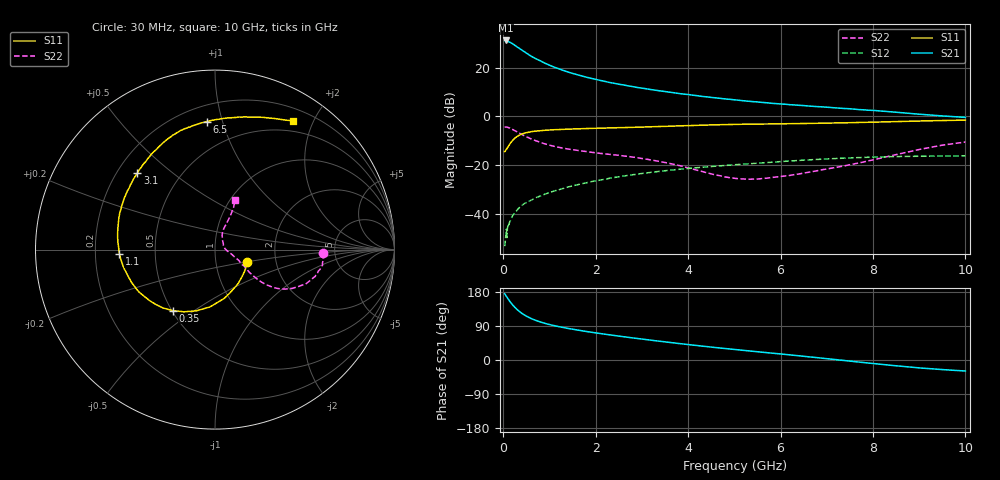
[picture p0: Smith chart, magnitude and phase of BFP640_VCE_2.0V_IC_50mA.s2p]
! Infineon Technologies  Discrete & RF Semiconductors
! BFP640
! VCE =  2.0 V,  IC =  50 mA
! Common Emitter S-Parameters:  Apr 2013
# GHz  S  MA  R  50
!  f  S11  S21  S12  S22
! GHz  MAG  ANG  MAG  ANG  MAG  ANG  MAG  ANG
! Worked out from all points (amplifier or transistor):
!   99 points, 30 MHz to 10 GHz, reference 50 ohm
!   highest |S21| = 31.1 dB at 50 MHz (marker M1)
!   |S21| within 3 dB of that: start of sweep to 329.9 MHz
!   unconditionally stable (mu >= 1): start of sweep to 315.7 MHz; 551.3 MHz to end of sweep
!   at 350 MHz: K = 0.97, MSG = 32.6 dB, |S12| = -37.3 dB
!   at 3.5 GHz: K = 1.27, MAG = 13.1 dB, |S12| = -22.3 dB
!   at 10 GHz: K = 1.22, MAG = 5.0 dB, |S12| = -16.1 dB
!   S11 on the Smith chart (normalised r, x): 30 MHz: 1.42, -0.20; 350 MHz: 0.51, -0.42; 1.1 GHz: 0.30, -0.02; 3.1 GHz: 0.28, +0.38; 6.5 GHz: 0.30, +0.89; 10 GHz: 0.36, +1.73
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0.03  0.1897 -20.5  35.56 175.0  0.0022 43.8  0.6039 -1.8
0.04  0.1912 -26.9  35.31 173.2  0.0025 54.9  0.6067 -3.2
0.05  0.2009 -32.2  35.85 171.6  0.0031 69.3  0.605 -4.6
0.12  0.2508 -69.1  33.74 158.6  0.006 67.4  0.5855 -12.9
0.15  0.2779 -79.8  32.87 153.7  0.0072 62.8  0.5707 -15.9
0.2  0.3202 -94.9  30.8 145.9  0.0092 63.2  0.5429 -20.4
0.25  0.3568 -106.9  28.59 139.2  0.0105 63.1  0.5097 -23.7
0.35  0.4127 -124.5  24.65 128.0  0.0136 60.2  0.453 -29.0
0.45  0.4496 -137.1  21.32 119.4  0.0162 59.5  0.405 -32.1
0.6  0.4858 -151.1  17.17 109.7  0.0191 59.5  0.3473 -34.4
0.8  0.5078 -163.7  13.76 100.5  0.0234 59.6  0.2948 -35.1
1.1  0.5331 -177.4  10.2 90.8  0.0296 59.2  0.2439 -34.0
1.4  0.5476 172.5  8.114 83.4  0.0358 58.3  0.2149 -32.4
1.7  0.5591 164.2  6.733 77.2  0.0418 57.4  0.1959 -30.2
2.3  0.5812 150.7  4.947 66.4  0.054 54.0  0.1668 -28.1
3.1  0.6077 135.3  3.665 53.8  0.0695 48.0  0.133 -22.8
3.4  0.6214 130.0  3.32 49.3  0.0751 45.5  0.1183 -20.9
5.1  0.6869 107.1  2.139 26.6  0.1037 31.7  0.0527 12.1
6.5  0.7151 93.7  1.663 9.8  0.127 20.1  0.0689 52.6
6.7  0.7203 91.5  1.608 7.3  0.13 18.4  0.0744 56.4
8.5  0.7821 70.5  1.216 -15.3  0.1504 0.9  0.1648 66.1
10  0.8391 58.6  0.952 -29.1  0.156 -9.9  0.2983 68.2
